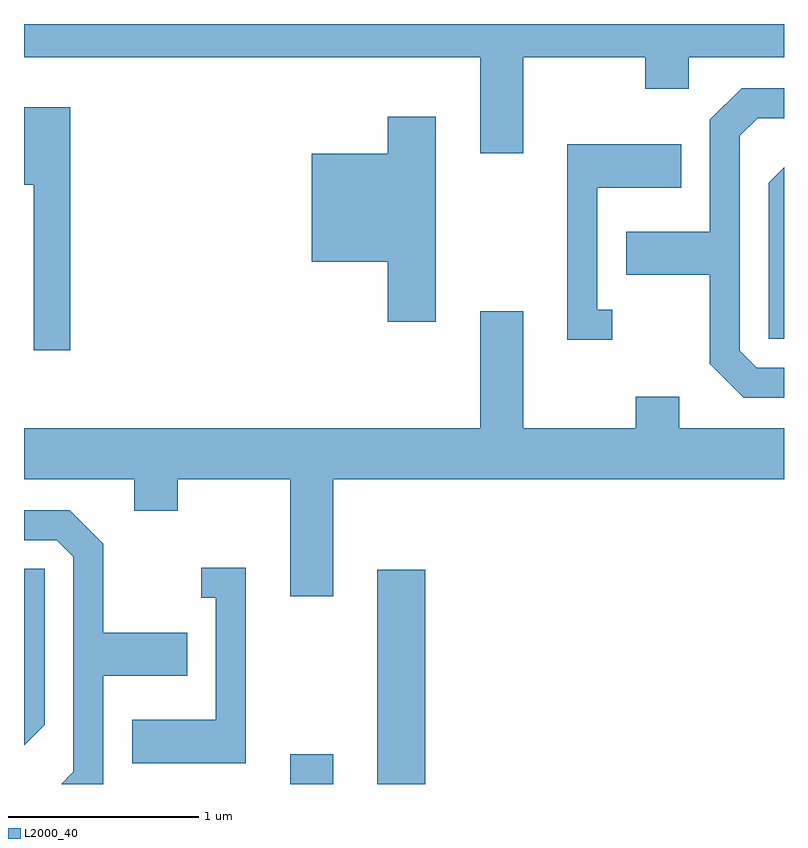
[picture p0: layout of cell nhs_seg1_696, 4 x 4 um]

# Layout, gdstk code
import gdstk
lib = gdstk.Library(unit=1e-6, precision=1e-09)
def R(c, l, rs):  # rectangles x0, y0, x1, y1
    for r in rs: c.add(gdstk.rectangle(r[:2], r[2:], *l))
def P(c, l, *ps):  # polygons
    for p in ps: c.add(gdstk.Polygon(p, *l))
L2000_40 = (2000, 40)

nhs_seg1_696 = lib.new_cell('nhs_seg1_696')
R(nhs_seg1_696, L2000_40, [(207.011,935.712,207.239,935.869), (207.471,935.712,207.724,936.839)])
P(nhs_seg1_696, L2000_40, [(208.239,939.536),(208.881,939.536),(208.881,939.371),(209.109,939.371),(209.109,939.536),(209.611,939.536),(209.611,939.712),(205.611,939.712),(205.611,939.536),(208.011,939.536),(208.011,939.031),(208.239,939.031)],
  [(209.611,937.904),(209.467,937.904),(209.379,937.992),(209.379,939.124),(209.472,939.216),(209.611,939.216),(209.611,939.374),(209.389,939.374),(209.221,939.207),(209.221,938.619),(208.781,938.619),(208.781,938.391),(209.221,938.391),(209.221,937.924),(209.399,937.746),(209.611,937.746)],
  [(205.854,939.274),(205.611,939.274),(205.611,938.866),(205.661,938.866),(205.661,937.996),(205.854,937.996)],
  [(207.779,939.224),(207.526,939.224),(207.526,939.029),(207.126,939.029),(207.126,938.461),(207.526,938.461),(207.526,938.146),(207.779,938.146)],
  [(208.708,938.209),(208.629,938.209),(208.629,938.851),(209.069,938.851),(209.069,939.079),(208.471,939.079),(208.471,938.051),(208.708,938.051)],
  [(209.611,938.957),(209.531,938.877),(209.531,938.056),(209.611,938.056)],
  [(207.239,937.316),(209.611,937.316),(209.611,937.584),(209.059,937.584),(209.059,937.749),(208.831,937.749),(208.831,937.584),(208.239,937.584),(208.239,938.199),(208.011,938.199),(208.011,937.584),(205.611,937.584),(205.611,937.316),(206.191,937.316),(206.191,937.151),(206.419,937.151),(206.419,937.316),(207.011,937.316),(207.011,936.701),(207.239,936.701)],
  [(206.029,936.281),(206.469,936.281),(206.469,936.509),(206.029,936.509),(206.029,936.977),(205.852,937.154),(205.611,937.154),(205.611,936.996),(205.784,936.996),(205.871,936.909),(205.871,935.777),(205.807,935.712),(206.029,935.712)],
  [(206.779,936.849),(206.543,936.849),(206.543,936.691),(206.621,936.691),(206.621,936.049),(206.181,936.049),(206.181,935.821),(206.779,935.821)],
  [(205.719,936.024),(205.719,936.844),(205.611,936.844),(205.611,935.915)])

lib.write_gds('nhs_seg1_696.gds')
